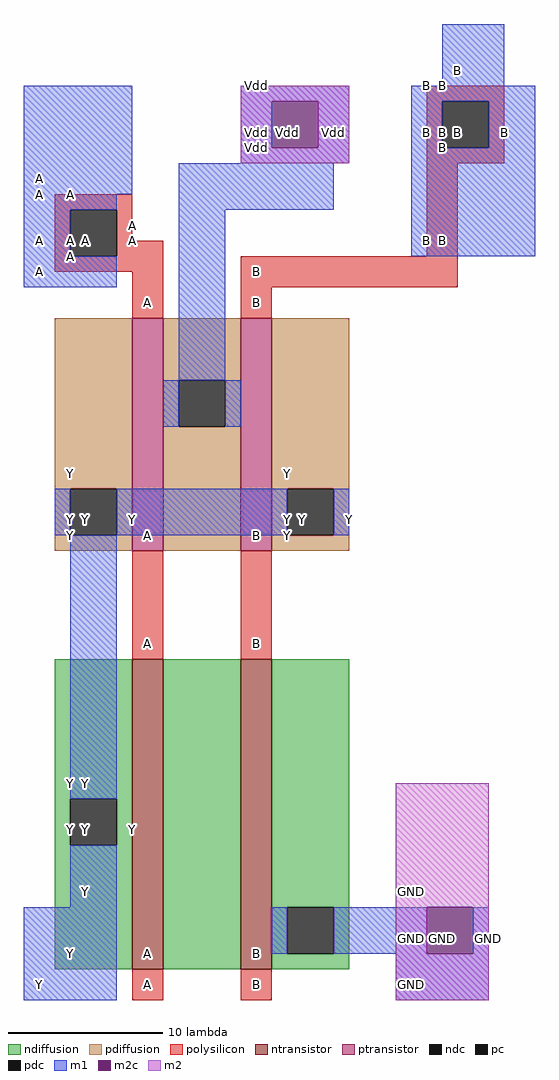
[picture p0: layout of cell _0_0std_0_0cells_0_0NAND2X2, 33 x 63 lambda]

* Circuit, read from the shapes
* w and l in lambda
.subckt _0_0std_0_0cells_0_0NAND2X2 B Y A
M1 n1 A Y VSUBS nfet w=20 l=2
M2 GND B n1 VSUBS nfet w=20 l=2
M3 Vdd A Y NWELL pfet w=15 l=2
M4 Y B Vdd NWELL pfet w=15 l=2
.ends

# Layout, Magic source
magic
tech sky130l
<< ndiffusion >>
rect 8 15 13 24
rect 8 12 9 15
rect 12 12 13 15
rect 8 4 13 12
rect 15 4 20 24
rect 22 8 27 24
rect 22 5 23 8
rect 26 5 27 8
rect 22 4 27 5
<< ndc >>
rect 9 12 12 15
rect 23 5 26 8
<< ntransistor >>
rect 13 4 15 24
rect 20 4 22 24
<< pdiffusion >>
rect 8 35 13 46
rect 8 32 9 35
rect 12 32 13 35
rect 8 31 13 32
rect 15 42 20 46
rect 15 39 16 42
rect 19 39 20 42
rect 15 31 20 39
rect 22 35 27 46
rect 22 32 23 35
rect 26 32 27 35
rect 22 31 27 32
<< pdc >>
rect 9 32 12 35
rect 16 39 19 42
rect 23 32 26 35
<< ptransistor >>
rect 13 31 15 46
rect 20 31 22 46
<< polysilicon >>
rect 32 60 37 61
rect 32 57 33 60
rect 36 57 37 60
rect 32 56 37 57
rect 8 53 13 54
rect 8 50 9 53
rect 12 51 13 53
rect 12 50 15 51
rect 32 50 34 56
rect 8 49 15 50
rect 13 46 15 49
rect 20 48 34 50
rect 20 46 22 48
rect 13 24 15 31
rect 20 24 22 31
rect 13 2 15 4
rect 20 2 22 4
<< pc >>
rect 33 57 36 60
rect 9 50 12 53
<< m1 >>
rect 33 61 37 65
rect 6 54 13 61
rect 20 60 27 61
rect 20 57 22 60
rect 25 57 27 60
rect 20 56 27 57
rect 31 60 39 61
rect 31 57 33 60
rect 36 57 39 60
rect 6 53 12 54
rect 6 50 9 53
rect 6 48 12 50
rect 16 53 26 56
rect 16 42 19 53
rect 31 50 39 57
rect 15 39 16 42
rect 19 39 20 42
rect 8 32 9 35
rect 12 32 23 35
rect 26 32 27 35
rect 9 15 12 32
rect 9 8 12 12
rect 6 2 12 8
rect 22 5 23 8
rect 26 5 32 8
rect 35 5 36 8
rect 30 2 36 5
<< m2c >>
rect 22 57 25 60
rect 32 5 35 8
<< m2 >>
rect 20 60 27 61
rect 20 57 22 60
rect 25 57 27 60
rect 20 56 27 57
rect 30 8 36 16
rect 30 5 32 8
rect 35 5 36 8
rect 30 2 36 5
<< labels >>
rlabel polysilicon 33 51 33 51 3 B
rlabel polysilicon 33 57 33 57 3 B
rlabel polysilicon 33 58 33 58 3 B
rlabel polysilicon 33 61 33 61 3 B
rlabel pdiffusion 23 32 23 32 3 Y
rlabel pdiffusion 23 33 23 33 3 Y
rlabel pdiffusion 23 36 23 36 3 Y
rlabel polysilicon 21 3 21 3 3 B
rlabel ntransistor 21 5 21 5 3 B
rlabel polysilicon 21 25 21 25 3 B
rlabel ptransistor 21 32 21 32 3 B
rlabel polysilicon 21 47 21 47 3 B
rlabel polysilicon 21 49 21 49 3 B
rlabel ndiffusion 13 13 13 13 3 Y
rlabel polysilicon 13 51 13 51 3 A
rlabel polysilicon 13 52 13 52 3 A
rlabel polysilicon 14 3 14 3 3 A
rlabel ntransistor 14 5 14 5 3 A
rlabel polysilicon 14 25 14 25 3 A
rlabel ptransistor 14 32 14 32 3 A
rlabel polysilicon 14 47 14 47 3 A
rlabel ndiffusion 9 5 9 5 3 Y
rlabel ndiffusion 9 13 9 13 3 Y
rlabel ndiffusion 9 16 9 16 3 Y
rlabel pdiffusion 9 32 9 32 3 Y
rlabel pdiffusion 9 36 9 36 3 Y
rlabel polysilicon 9 50 9 50 3 A
rlabel polysilicon 9 51 9 51 3 A
rlabel polysilicon 9 54 9 54 3 A
rlabel m1 37 58 37 58 3 B
port 1 e
rlabel pc 34 58 34 58 3 B
port 1 e
rlabel m1 32 51 32 51 3 B
port 1 e
rlabel m1 32 58 32 58 3 B
port 1 e
rlabel m1 34 62 34 62 3 B
port 1 e
rlabel m1 32 61 32 61 3 B
port 1 e
rlabel m1 27 33 27 33 3 Y
port 2 e
rlabel pdc 24 33 24 33 3 Y
port 2 e
rlabel m1 13 33 13 33 3 Y
port 2 e
rlabel m1 10 9 10 9 3 Y
port 2 e
rlabel ndc 10 13 10 13 3 Y
port 2 e
rlabel m1 10 16 10 16 3 Y
port 2 e
rlabel pdc 10 33 10 33 3 Y
port 2 e
rlabel m1 9 33 9 33 3 Y
port 2 e
rlabel pc 10 51 10 51 3 A
port 3 e
rlabel m1 7 3 7 3 3 Y
port 2 e
rlabel m1 7 49 7 49 3 A
port 3 e
rlabel m1 7 51 7 51 3 A
port 3 e
rlabel m1 7 54 7 54 3 A
port 3 e
rlabel m1 7 55 7 55 3 A
port 3 e
rlabel m2 36 6 36 6 3 GND
rlabel m2c 33 6 33 6 3 GND
rlabel m2 31 3 31 3 3 GND
rlabel m2 31 6 31 6 3 GND
rlabel m2 31 9 31 9 3 GND
rlabel m2 26 58 26 58 3 Vdd
rlabel m2c 23 58 23 58 3 Vdd
rlabel m2 21 57 21 57 3 Vdd
rlabel m2 21 58 21 58 3 Vdd
rlabel m2 21 61 21 61 3 Vdd
<< end >>
